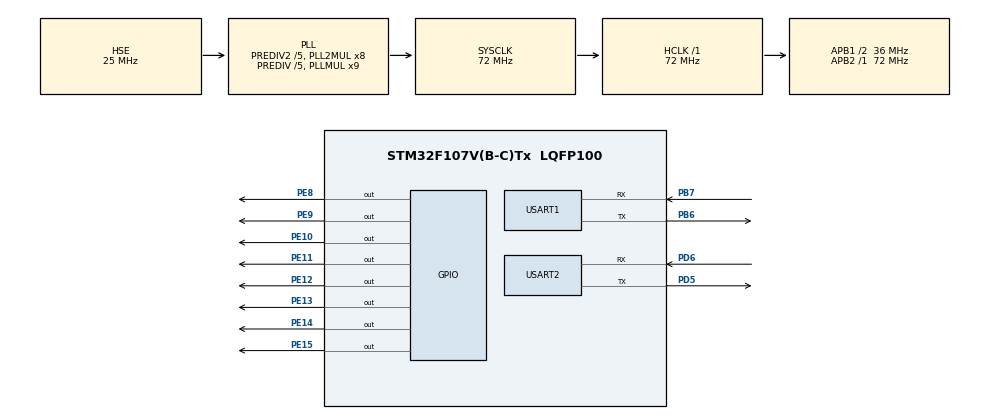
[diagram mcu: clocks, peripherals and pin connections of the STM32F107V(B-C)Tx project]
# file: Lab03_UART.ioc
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Mcu.Family=STM32F1
Mcu.Name=STM32F107V(B-C)Tx
Mcu.Package=LQFP100
NVIC.PriorityGroup=NVIC_PRIORITYGROUP_4
OSC_IN.Mode=HSE-External-Oscillator
OSC_IN.Signal=RCC_OSC_IN
OSC_OUT.Mode=HSE-External-Oscillator
OSC_OUT.Signal=RCC_OSC_OUT
PB6.Mode=Asynchronous
PB6.Signal=USART1_TX
PB7.Mode=Asynchronous
PB7.Signal=USART1_RX
PD5.Mode=Asynchronous
PD5.Signal=USART2_TX
PD6.Mode=Asynchronous
PD6.Signal=USART2_RX
PE10.GPIO_Speed=GPIO_SPEED_FREQ_HIGH
PE10.Signal=GPIO_Output
PE11.GPIO_Speed=GPIO_SPEED_FREQ_HIGH
PE11.Signal=GPIO_Output
PE12.GPIO_Speed=GPIO_SPEED_FREQ_HIGH
PE12.Signal=GPIO_Output
PE13.GPIO_Speed=GPIO_SPEED_FREQ_HIGH
PE13.Signal=GPIO_Output
PE14.GPIO_Speed=GPIO_SPEED_FREQ_HIGH
PE14.Signal=GPIO_Output
PE15.GPIO_Speed=GPIO_SPEED_FREQ_HIGH
PE15.Signal=GPIO_Output
PE8.GPIO_Speed=GPIO_SPEED_FREQ_HIGH
PE8.Signal=GPIO_Output
PE9.GPIO_Speed=GPIO_SPEED_FREQ_HIGH
PE9.Signal=GPIO_Output
ProjectManager.HeapSize=0x200
ProjectManager.StackSize=0x400
ProjectManager.TargetToolchain=MDK-ARM V5
RCC.AHBFreq_Value=72000000
RCC.APB1CLKDivider=RCC_HCLK_DIV2
RCC.APB1Freq_Value=36000000
RCC.APB1TimFreq_Value=72000000
RCC.APB2Freq_Value=72000000
RCC.APB2TimFreq_Value=72000000
RCC.HCLKFreq_Value=72000000
RCC.HSEDivPLL=RCC_HSE_PREDIV_DIV5
RCC.HSE_VALUE=25000000
RCC.PLLMUL=RCC_PLL_MUL9
RCC.PLLSourceVirtual=RCC_PLLSOURCE_HSE
RCC.Prediv1Source=RCC_PREDIV1_SOURCE_PLL2
RCC.Prediv2=RCC_HSE_PREDIV2_DIV5
RCC.SYSCLKFreq_VALUE=72000000
RCC.SYSCLKSource=RCC_SYSCLKSOURCE_PLLCLK
RCC.USBFreq_Value=48000000
USART1.VirtualMode=VM_ASYNC
USART2.VirtualMode=VM_ASYNC
VP_SYS_VS_ND.Mode=No_Debug
board=Lab03_UART

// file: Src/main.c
/**
  ******************************************************************************
  * File Name		  : main.c
  * Description		: Main program body
  ******************************************************************************
  ** This notice applies to any and all portions of this file
  * that are not between comment pairs USER CODE BEGIN and
  * USER CODE END. Other portions of this file, whether
  * inserted by the user or by software development tools
  * are owned by their respective copyright owners.
  *
  * COPYRIGHT(c) 2018 STMicroelectronics
  *
  * Redistribution and use in source and binary forms, with or without modification,
  * are permitted provided that the following conditions are met:
  *   1. Redistributions of source code must retain the above copyright notice,
  *	  this list of conditions and the following disclaimer.
  *   2. Redistributions in binary form must reproduce the above copyright notice,
  *	  this list of conditions and the following disclaimer in the documentation
  *	  and/or other materials provided with the distribution.
  *   3. Neither the name of STMicroelectronics nor the names of its contributors
  *	  may be used to endorse or promote products derived from this software
  *	  without specific prior written permission.
  *
  * THIS SOFTWARE IS PROVIDED BY THE COPYRIGHT HOLDERS AND CONTRIBUTORS "AS IS"
  * AND ANY EXPRESS OR IMPLIED WARRANTIES, INCLUDING, BUT NOT LIMITED TO, THE
  * IMPLIED WARRANTIES OF MERCHANTABILITY AND FITNESS FOR A PARTICULAR PURPOSE ARE
  * DISCLAIMED. IN NO EVENT SHALL THE COPYRIGHT HOLDER OR CONTRIBUTORS BE LIABLE
  * FOR ANY DIRECT, INDIRECT, INCIDENTAL, SPECIAL, EXEMPLARY, OR CONSEQUENTIAL
  * DAMAGES (INCLUDING, BUT NOT LIMITED TO, PROCUREMENT OF SUBSTITUTE GOODS OR
  * SERVICES; LOSS OF USE, DATA, OR PROFITS; OR BUSINESS INTERRUPTION) HOWEVER
  * CAUSED AND ON ANY THEORY OF LIABILITY, WHETHER IN CONTRACT, STRICT LIABILITY,
  * OR TORT (INCLUDING NEGLIGENCE OR OTHERWISE) ARISING IN ANY WAY OUT OF THE USE
  * OF THIS SOFTWARE, EVEN IF ADVISED OF THE POSSIBILITY OF SUCH DAMAGE.
  *
  ******************************************************************************
  */

#include "main.h"
#include "stm32f1xx_hal.h"

/* USER CODE BEGIN Includes */
#include <string.h>
/* USER CODE END Includes */

UART_HandleTypeDef huart1;
UART_HandleTypeDef huart2;

/* USER CODE BEGIN PV */
/* Private variables ---------------------------------------------------------*/

/* USER CODE END PV */

void SystemClock_Config(void);
static void MX_GPIO_Init(void);
static void MX_USART1_UART_Init(void);
static void MX_USART2_UART_Init(void);

/* USER CODE BEGIN PFP */
/* Private function prototypes -----------------------------------------------*/
void transmit(char* str);

/* USER CODE END PFP */

int main(void)
{

  /* MCU Configuration----------------------------------------------------------*/

  /* Reset of all peripherals, Initializes the Flash interface and the Systick. */
  HAL_Init();

  /* Configure the system clock */
  SystemClock_Config();

  /* Initialize all configured peripherals */
  MX_GPIO_Init();
  MX_USART1_UART_Init();
  MX_USART2_UART_Init();

  /* USER CODE BEGIN 2 */
	char display[] = "\r\nDisplay Animated LED PRESS(u,d,l,r,c)\r\nDisplay Group Members PRESS m\r\nQuit PRESS q";
	char input[] = "\r\n\tinput => ";
	char name[] = "\r\nAbcd Efghi\r\n59010xxx\r\nJklm Nopqrs\r\n59010xxx";
	char quit[] = "\r\nQuit";
	char unknown[] = "\r\nUnknown Command";

	char ch;
	unsigned int count = 0;

	transmit(display);
  /* USER CODE END 2 */

  /* Infinite loop */
  while (1)
  {

  /* USER CODE BEGIN 3 */
	transmit(input);
	while(__HAL_UART_GET_FLAG(&huart1, UART_FLAG_RXNE) == RESET){}
	HAL_UART_Receive(&huart1, (uint8_t*)&ch, 1, 1000);

	switch(ch) {
		case 'u':
			--count;
			count %= 8;
			GPIOE->ODR = 0x0100<<count;
			HAL_Delay(200);
			break;

		case 'd':
			++count;
			count %= 8;
			GPIOE->ODR = 0x0100<<count;
			HAL_Delay(200);
			break;

		case 'l':
			GPIOE->ODR = 0x00008100;
			HAL_Delay(1000);
			GPIOE->ODR = 0x00004200;
			HAL_Delay(1000);
			GPIOE->ODR = 0x00002400;
			HAL_Delay(1000);
			GPIOE->ODR = 0x00001800;
			HAL_Delay(1000);

			GPIOE->ODR = 0x00000000;
			count = 0;
			break;

		case 'r':
			GPIOE->ODR = 0x00001800;
			HAL_Delay(1000);
			GPIOE->ODR = 0x00002400;
			HAL_Delay(1000);
			GPIOE->ODR = 0x00004200;
			HAL_Delay(1000);
			GPIOE->ODR = 0x00008100;
			HAL_Delay(1000);

			GPIOE->ODR = 0x00000000;
			count = 0;
			break;

		case 'c':
			GPIOE->ODR = 0x0000AA00;
			HAL_Delay(500);
			GPIOE->ODR = 0x00005500;
			HAL_Delay(500);

			GPIOE->ODR = 0x00000000;
			count = 0;
			break;

		case 'm':
			transmit(name);
			break;

		case 'q':
			transmit(quit);
			return 0;
			break;

		default:
			transmit(unknown);
			break;
	}
  }
  /* USER CODE END 3 */

}

/** System Clock Configuration
*/
void SystemClock_Config(void)
{

  RCC_OscInitTypeDef RCC_OscInitStruct;
  RCC_ClkInitTypeDef RCC_ClkInitStruct;

	/**Initializes the CPU, AHB and APB busses clocks
	*/
  RCC_OscInitStruct.OscillatorType = RCC_OSCILLATORTYPE_HSE;
  RCC_OscInitStruct.HSEState = RCC_HSE_ON;
  RCC_OscInitStruct.HSEPredivValue = RCC_HSE_PREDIV_DIV5;
  RCC_OscInitStruct.HSIState = RCC_HSI_ON;
  RCC_OscInitStruct.Prediv1Source = RCC_PREDIV1_SOURCE_PLL2;
  RCC_OscInitStruct.PLL.PLLState = RCC_PLL_ON;
  RCC_OscInitStruct.PLL.PLLSource = RCC_PLLSOURCE_HSE;
  RCC_OscInitStruct.PLL.PLLMUL = RCC_PLL_MUL9;
  RCC_OscInitStruct.PLL2.PLL2State = RCC_PLL2_ON;
  RCC_OscInitStruct.PLL2.PLL2MUL = RCC_PLL2_MUL8;
  RCC_OscInitStruct.PLL2.HSEPrediv2Value = RCC_HSE_PREDIV2_DIV5;
  if (HAL_RCC_OscConfig(&RCC_OscInitStruct) != HAL_OK)
  {
	_Error_Handler(__FILE__, __LINE__);
  }

	/**Initializes the CPU, AHB and APB busses clocks
	*/
  RCC_ClkInitStruct.ClockType = RCC_CLOCKTYPE_HCLK|RCC_CLOCKTYPE_SYSCLK
							  |RCC_CLOCKTYPE_PCLK1|RCC_CLOCKTYPE_PCLK2;
  RCC_ClkInitStruct.SYSCLKSource = RCC_SYSCLKSOURCE_PLLCLK;
  RCC_ClkInitStruct.AHBCLKDivider = RCC_SYSCLK_DIV1;
  RCC_ClkInitStruct.APB1CLKDivider = RCC_HCLK_DIV2;
  RCC_ClkInitStruct.APB2CLKDivider = RCC_HCLK_DIV1;

  if (HAL_RCC_ClockConfig(&RCC_ClkInitStruct, FLASH_LATENCY_2) != HAL_OK)
  {
	_Error_Handler(__FILE__, __LINE__);
  }

	/**Configure the Systick interrupt time
	*/
  HAL_SYSTICK_Config(HAL_RCC_GetHCLKFreq()/1000);

	/**Configure the Systick
	*/
  HAL_SYSTICK_CLKSourceConfig(SYSTICK_CLKSOURCE_HCLK);

	/**Configure the Systick interrupt time
	*/
  __HAL_RCC_PLLI2S_ENABLE();

  /* SysTick_IRQn interrupt configuration */
  HAL_NVIC_SetPriority(SysTick_IRQn, 0, 0);
}

/* USART1 init function */
static void MX_USART1_UART_Init(void)
{

  huart1.Instance = USART1;
  huart1.Init.BaudRate = 115200;
  huart1.Init.WordLength = UART_WORDLENGTH_8B;
  huart1.Init.StopBits = UART_STOPBITS_1;
  huart1.Init.Parity = UART_PARITY_NONE;
  huart1.Init.Mode = UART_MODE_TX_RX;
  huart1.Init.HwFlowCtl = UART_HWCONTROL_NONE;
  huart1.Init.OverSampling = UART_OVERSAMPLING_16;
  if (HAL_UART_Init(&huart1) != HAL_OK)
  {
	_Error_Handler(__FILE__, __LINE__);
  }

}

/* USART2 init function */
static void MX_USART2_UART_Init(void)
{

  huart2.Instance = USART2;
  huart2.Init.BaudRate = 115200;
  huart2.Init.WordLength = UART_WORDLENGTH_8B;
  huart2.Init.StopBits = UART_STOPBITS_1;
  huart2.Init.Parity = UART_PARITY_NONE;
  huart2.Init.Mode = UART_MODE_TX_RX;
  huart2.Init.HwFlowCtl = UART_HWCONTROL_NONE;
  huart2.Init.OverSampling = UART_OVERSAMPLING_16;
  if (HAL_UART_Init(&huart2) != HAL_OK)
  {
	_Error_Handler(__FILE__, __LINE__);
  }

}

/** Configure pins as
		* Analog
		* Input
		* Output
		* EVENT_OUT
		* EXTI
*/
static void MX_GPIO_Init(void)
{

  GPIO_InitTypeDef GPIO_InitStruct;

  /* GPIO Ports Clock Enable */
  __HAL_RCC_GPIOE_CLK_ENABLE();
  __HAL_RCC_GPIOD_CLK_ENABLE();
  __HAL_RCC_GPIOB_CLK_ENABLE();

  /*Configure GPIO pin Output Level */
  HAL_GPIO_WritePin(GPIOE, GPIO_PIN_8|GPIO_PIN_9|GPIO_PIN_10|GPIO_PIN_11
						  |GPIO_PIN_12|GPIO_PIN_13|GPIO_PIN_14|GPIO_PIN_15, GPIO_PIN_RESET);

  /*Configure GPIO pins : PE8 PE9 PE10 PE11
						   PE12 PE13 PE14 PE15 */
  GPIO_InitStruct.Pin = GPIO_PIN_8|GPIO_PIN_9|GPIO_PIN_10|GPIO_PIN_11
						  |GPIO_PIN_12|GPIO_PIN_13|GPIO_PIN_14|GPIO_PIN_15;
  GPIO_InitStruct.Mode = GPIO_MODE_OUTPUT_PP;
  GPIO_InitStruct.Speed = GPIO_SPEED_FREQ_HIGH;
  HAL_GPIO_Init(GPIOE, &GPIO_InitStruct);

}

/* USER CODE BEGIN 4 */
void transmit(char* str) {
	while(__HAL_UART_GET_FLAG(&huart1, UART_FLAG_TC) == RESET){}
	HAL_UART_Transmit(&huart1, (uint8_t*)str, strlen(str), 1000);
}

/* USER CODE END 4 */

void _Error_Handler(char * file, int line)
{
  while(1)
  {
  }
}

/************************ (C) COPYRIGHT STMicroelectronics *****END OF FILE****/
